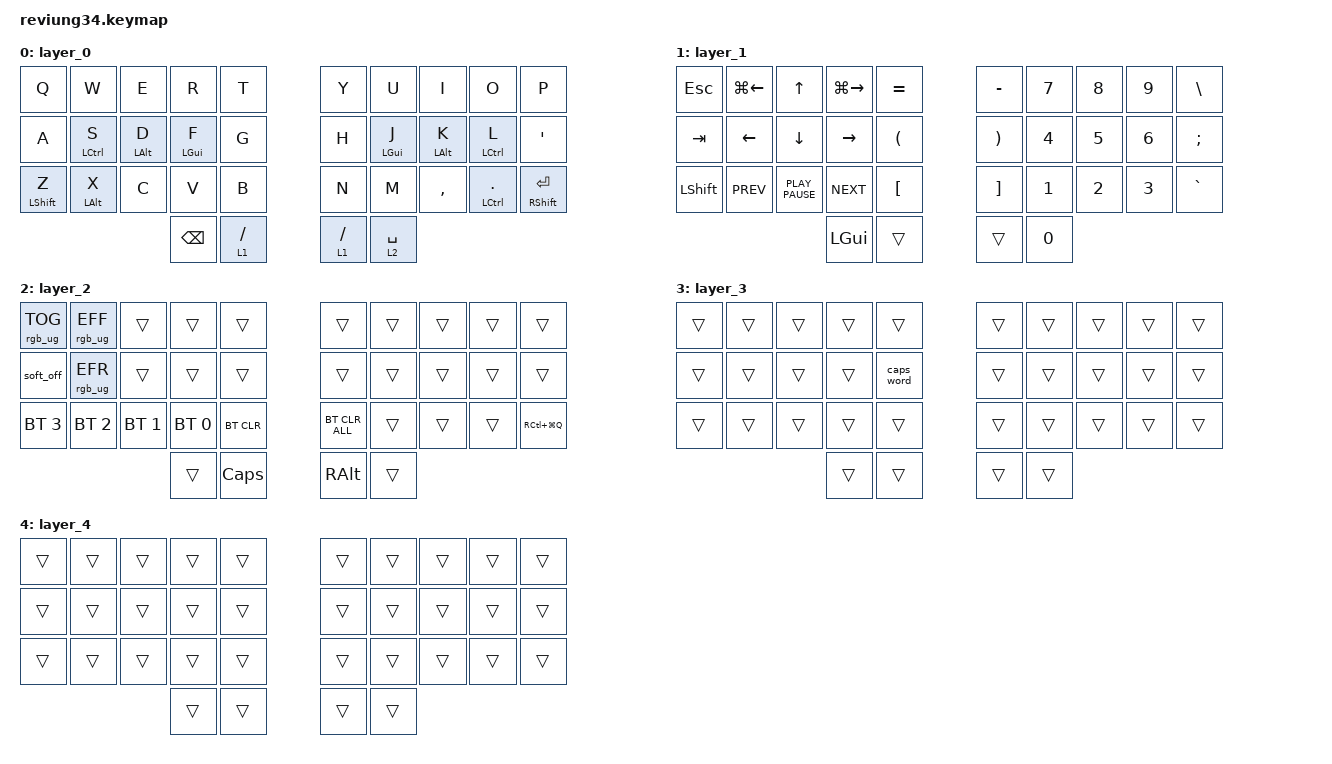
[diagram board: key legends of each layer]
#include <behaviors.dtsi>
#include <dt-bindings/zmk/bt.h>
#include <dt-bindings/zmk/keys.h>
#include <dt-bindings/zmk/rgb.h>

/ {
    behaviors {
        ht: hold_tap {
            label = "hold_tap";
            compatible = "zmk,behavior-hold-tap";
            #binding-cells = <2>;
            flavor = "balanced";
            tapping-term-ms = <200>;
            quick-tap-ms = <150>;
            require-prior-idle-ms = <100>;
            bindings = <&kp>, <&kp>;
        };
    };

    keymap {
        compatible = "zmk,keymap";

        layer_0 {
            bindings = <
&kp Q        &kp W        &kp E           &kp R          &kp T          &kp Y        &kp U        &kp I       &kp O             &kp P
&kp A        &ht LCTRL S  &ht LEFT_ALT D  &ht LGUI F     &kp G          &kp H        &ht LGUI J   &ht LALT K  &ht LCTRL L       &kp SQT
&ht LSHFT Z  &ht LALT X   &kp C           &kp V          &kp B          &kp N        &kp M        &kp COMMA   &ht LCTRL PERIOD  &ht RSHFT ENTER
                                          &kp BACKSPACE  &lt 1 SLASH    &lt 1 SLASH  &lt 2 SPACE
            >;
        };

        layer_1 {
            bindings = <
&kp ESCAPE      &kp LG(LEFT_ARROW)  &kp UP_ARROW      &kp LG(RIGHT)  &kp EQUAL               &kp MINUS              &kp N7        &kp N8        &kp N9        &kp BACKSLASH
&kp TAB         &kp LEFT_ARROW      &kp DOWN          &kp RIGHT      &kp LEFT_PARENTHESIS    &kp RIGHT_PARENTHESIS  &kp NUMBER_4  &kp N5        &kp NUMBER_6  &kp SEMICOLON
&kp LEFT_SHIFT  &kp K_PREV          &kp K_PLAY_PAUSE  &kp K_NEXT     &kp LEFT_BRACKET        &kp RIGHT_BRACKET      &kp NUMBER_1  &kp NUMBER_2  &kp NUMBER_3  &kp GRAVE
                                                      &kp LGUI       &trans                  &trans                 &kp N0
            >;
        };

        layer_2 {
            bindings = <
&rgb_ug RGB_TOG  &rgb_ug RGB_EFF  &trans        &trans        &trans          &trans          &trans  &trans  &trans  &trans
&soft_off        &rgb_ug RGB_EFR  &trans        &trans        &trans          &trans          &trans  &trans  &trans  &trans
&bt BT_SEL 3     &bt BT_SEL 2     &bt BT_SEL 1  &bt BT_SEL 0  &bt BT_CLR      &bt BT_CLR_ALL  &trans  &trans  &trans  &kp RC(LG(Q))
                                                &trans        &kp CAPSLOCK    &kp RALT        &trans
            >;
        };

        layer_3 {
            bindings = <
&trans  &trans  &trans  &trans  &trans        &trans  &trans  &trans  &trans  &trans
&trans  &trans  &trans  &trans  &caps_word    &trans  &trans  &trans  &trans  &trans
&trans  &trans  &trans  &trans  &trans        &trans  &trans  &trans  &trans  &trans
                        &trans  &trans        &trans  &trans
            >;
        };

        layer_4 {
            bindings = <
&trans  &trans  &trans  &trans  &trans    &trans  &trans  &trans  &trans  &trans
&trans  &trans  &trans  &trans  &trans    &trans  &trans  &trans  &trans  &trans
&trans  &trans  &trans  &trans  &trans    &trans  &trans  &trans  &trans  &trans
                        &trans  &trans    &trans  &trans
            >;
        };
    };
};
